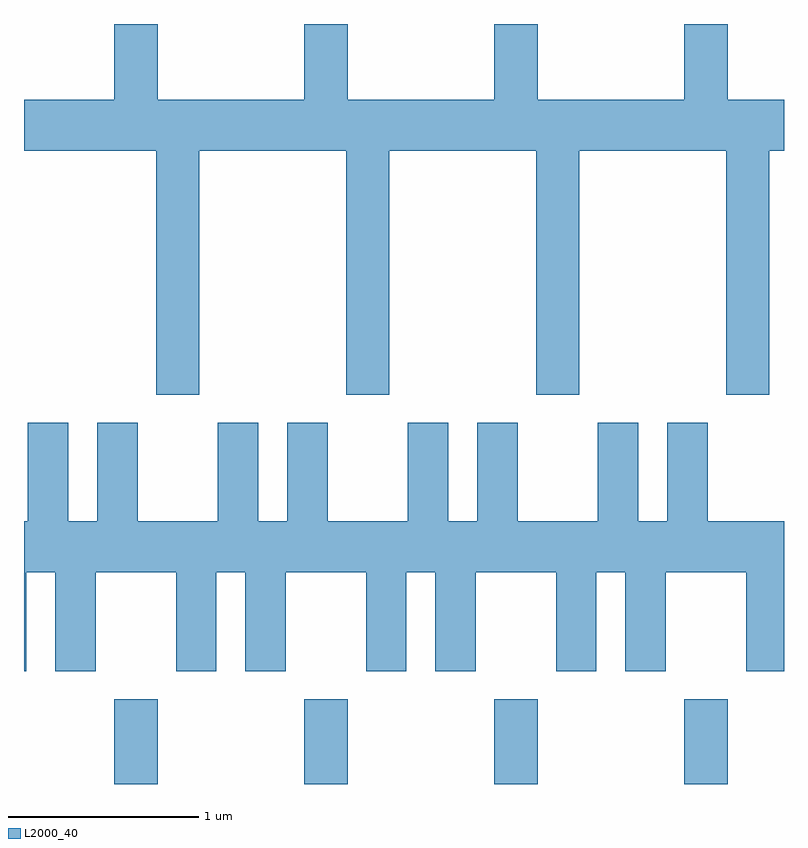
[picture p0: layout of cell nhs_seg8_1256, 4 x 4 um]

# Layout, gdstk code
import gdstk
lib = gdstk.Library(unit=1e-6, precision=1e-09)
def R(c, l, rs):  # rectangles x0, y0, x1, y1
    for r in rs: c.add(gdstk.rectangle(r[:2], r[2:], *l))
def A(c, l, x, y, w, h, nx, ny, dx, dy):  # array of equal rectangles
    R(c, l, [(x+i*dx, y+j*dy, x+i*dx+w, y+j*dy+h) for i in range(nx) for j in range(ny)])
def P(c, l, *ps):  # polygons
    for p in ps: c.add(gdstk.Polygon(p, *l))
L2000_40 = (2000, 40)

nhs_seg8_1256 = lib.new_cell('nhs_seg8_1256')
A(nhs_seg8_1256, L2000_40, 222.086, 1906.342, 0.228, 0.447, 4, 1, 1, 0)
P(nhs_seg8_1256, L2000_40, [(222.534,1909.676),(223.306,1909.676),(223.306,1908.391),(223.534,1908.391),(223.534,1909.676),(224.306,1909.676),(224.306,1908.391),(224.534,1908.391),(224.534,1909.676),(225.306,1909.676),(225.306,1908.391),(225.534,1908.391),(225.534,1909.676),(225.611,1909.676),(225.611,1909.944),(225.314,1909.944),(225.314,1910.342),(225.086,1910.342),(225.086,1909.944),(224.314,1909.944),(224.314,1910.342),(224.086,1910.342),(224.086,1909.944),(223.314,1909.944),(223.314,1910.342),(223.086,1910.342),(223.086,1909.944),(222.314,1909.944),(222.314,1910.342),(222.086,1910.342),(222.086,1909.944),(221.611,1909.944),(221.611,1909.676),(222.306,1909.676),(222.306,1908.391),(222.534,1908.391)],
  [(221.624,1907.456),(221.776,1907.456),(221.776,1906.936),(221.989,1906.936),(221.989,1907.456),(222.411,1907.456),(222.411,1906.936),(222.624,1906.936),(222.624,1907.456),(222.776,1907.456),(222.776,1906.936),(222.989,1906.936),(222.989,1907.456),(223.411,1907.456),(223.411,1906.936),(223.624,1906.936),(223.624,1907.456),(223.776,1907.456),(223.776,1906.936),(223.989,1906.936),(223.989,1907.456),(224.411,1907.456),(224.411,1906.936),(224.624,1906.936),(224.624,1907.456),(224.776,1907.456),(224.776,1906.936),(224.989,1906.936),(224.989,1907.456),(225.411,1907.456),(225.411,1906.936),(225.611,1906.936),(225.611,1907.724),(225.209,1907.724),(225.209,1908.244),(224.996,1908.244),(224.996,1907.724),(224.844,1907.724),(224.844,1908.244),(224.631,1908.244),(224.631,1907.724),(224.209,1907.724),(224.209,1908.244),(223.996,1908.244),(223.996,1907.724),(223.844,1907.724),(223.844,1908.244),(223.631,1908.244),(223.631,1907.724),(223.209,1907.724),(223.209,1908.244),(222.996,1908.244),(222.996,1907.724),(222.844,1907.724),(222.844,1908.244),(222.631,1908.244),(222.631,1907.724),(222.209,1907.724),(222.209,1908.244),(221.996,1908.244),(221.996,1907.724),(221.844,1907.724),(221.844,1908.244),(221.631,1908.244),(221.631,1907.724),(221.611,1907.724),(221.611,1906.936),(221.624,1906.936)])

lib.write_gds('nhs_seg8_1256.gds')
